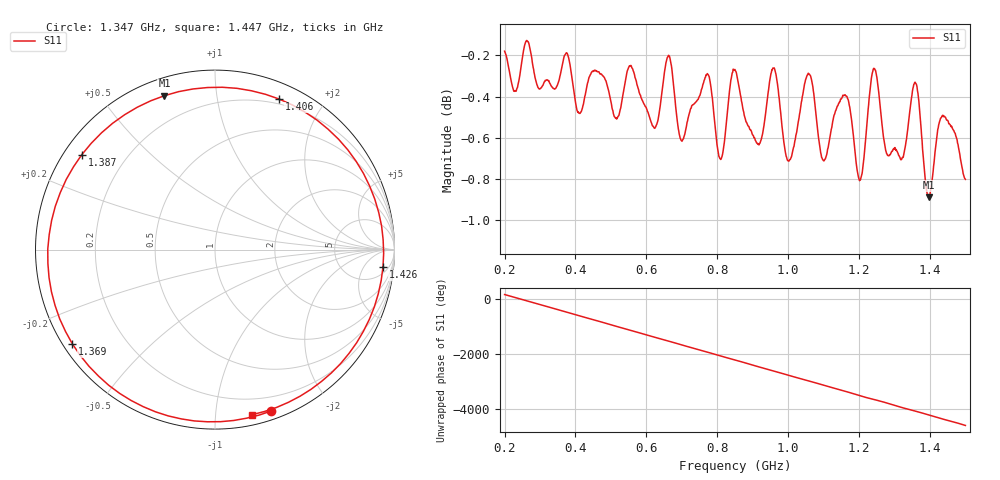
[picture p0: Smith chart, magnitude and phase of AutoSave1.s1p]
!Agilent N9923A: A.05.17
!Date: Sunday, 01 January 2006 12:17:50
!Model: N9923A
!Serial: MY50371189
!CHECKSUM:2026046659
!Correction: S11(ON U)
!S1P File: Measurement: S11:
# Hz S RI R 50
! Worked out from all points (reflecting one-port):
!   1001 points, 200 MHz to 1.5 GHz, reference 50 ohm
!   lowest |S11| = -0.9 dB at 1.396 GHz (marker M1), VSWR 19.53, Z = 3.9 + j36.1 ohm
!   phase of S11 starts at 165 deg and turns -4758 deg over the sweep
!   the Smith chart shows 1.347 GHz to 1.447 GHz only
!   S11 on the Smith chart (normalised r, x): 1.347 GHz: 0.07, -1.41; 1.369 GHz: 0.03, -0.30; 1.387 GHz: 0.05, +0.32; 1.406 GHz: 0.15, +1.50; 1.426 GHz: 8, -14; 1.447 GHz: 0.08, -1.24
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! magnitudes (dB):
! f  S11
! 200 MHz  -0.2
! 362.5 MHz  -0.2
! 525 MHz  -0.5
! 556.2 MHz  -0.2
! 625.1 MHz  -0.5
! 662.8 MHz  -0.2
! 687.5 MHz  -0.5
! 773.3 MHz  -0.3
! 809.7 MHz  -0.7
! 850 MHz  -0.3
! 915 MHz  -0.6
! 960.5 MHz  -0.3
! 1.012 GHz  -0.7
! 1.057 GHz  -0.3
! 1.1 GHz  -0.7
! 1.175 GHz  -0.5
! 1.202 GHz  -0.8
! 1.241 GHz  -0.3
! 1.28 GHz  -0.7
! 1.337 GHz  -0.6
! 1.347 GHz  -0.4
! 1.369 GHz  -0.4
! 1.387 GHz  -0.8
! 1.396 GHz  -0.9
! 1.406 GHz  -0.8
! 1.426 GHz  -0.5
! 1.447 GHz  -0.5
! 1.5 GHz  -0.8
